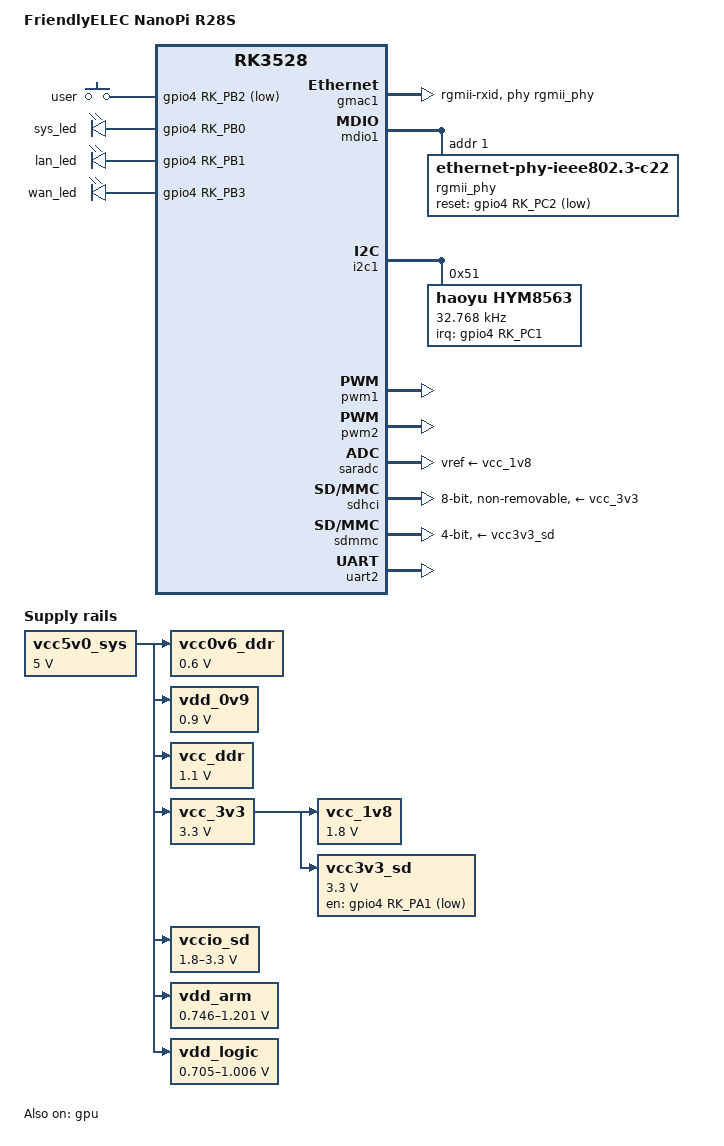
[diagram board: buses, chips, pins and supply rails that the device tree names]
// SPDX-License-Identifier: (GPL-2.0+ OR MIT)
/*
 * Device Tree for FriendlyELEC NanoPi R28S (RK3528A) — mainline U-Boot
 *
 * 模板: 主线 rk3528-nanopi-zero2.dts (同 SoC RK3528A)
 * 硬件定义: friendlyarm/kernel-rockchip nanopi6-v6.1.y / rk3528-nanopi-rev03.dts
 *
 * ★R28S 与 Zero2 在 U-Boot 阶段的关键差异: 调试串口★
 *   Zero2 用 UART0(0xff9f0000, serial0), R28S 用 UART2(0xffa0000, m1 引脚组, serial2).
 *   之前用 Zero2 u-boot 卡 'Starting kernel' 的根因之一就是串口节点对不上.
 *
 * 设计说明 (最小化以降低编译/启动风险):
 *   U-Boot 只需 DDR + UART2 + eMMC(sdhci)/SD(sdmmc) + 电源树正确即可点亮.
 *   网口 gmac1 保留(基本可用), 但 PCIe/RTL8111H、SDIO0 WiFi 等外设不在此配置——
 *   它们由内核 dtb(已验证的 rk3528-nanopi-r28s.dtb)接管, u-boot 阶段无需初始化,
 *   且可避免引用主线下游 pinctrl 中命名未确认的 label(如 eth_pins/pciem1_pins)导致 dtc 报错.
 */

/dts-v1/;

#include <dt-bindings/gpio/gpio.h>
#include <dt-bindings/input/input.h>
#include <dt-bindings/leds/common.h>
#include <dt-bindings/pinctrl/rockchip.h>
#include <dt-bindings/pwm/pwm.h>
#include "rk3528.dtsi"

/ {
	model = "FriendlyELEC NanoPi R28S";
	compatible = "friendlyelec,nanopi-r28s", "rockchip,rk3528";

	aliases {
		ethernet0 = &gmac1;
		mmc0 = &sdhci;
		mmc1 = &sdmmc;
		serial0 = &uart0;
		serial2 = &uart2;
	};

	chosen {
		/* R28S 调试串口为 UART2 (USB-UART), 1500000 8N1 */
		stdout-path = "serial2:1500000n8";
	};

	/* USER(C) 按键: gpio4 RK_PB2 低有效 */
	keys {
		compatible = "gpio-keys";
		pinctrl-names = "default";
		pinctrl-0 = <&key1_pin>;

		button-user {
			label = "user";
			linux,code = <BTN_1>;
			gpios = <&gpio4 RK_PB2 GPIO_ACTIVE_LOW>;
			debounce-interval = <50>;
			wakeup-source;
		};
	};

	/* 板载 3 个 GPIO LED: SYS(gpio4 PB0) / LED1(PB1) / LED2(PB3), 高有效 */
	leds {
		compatible = "gpio-leds";
		pinctrl-names = "default";
		pinctrl-0 = <&led_sys>, <&led1>, <&led2>;

		led-0 {
			gpios = <&gpio4 RK_PB0 GPIO_ACTIVE_HIGH>;
			label = "sys_led";
			linux,default-trigger = "heartbeat";
			default-state = "on";
		};

		led-1 {
			gpios = <&gpio4 RK_PB1 GPIO_ACTIVE_HIGH>;
			label = "lan_led";
		};

		led-2 {
			gpios = <&gpio4 RK_PB3 GPIO_ACTIVE_HIGH>;
			label = "wan_led";
		};
	};

	/* ---- 板级 regulator (与 Zero2 一致, RK3528 nanopi 系列共用电源树) ---- */
	vcc0v6_ddr: regulator-0v6-vcc-ddr {
		compatible = "regulator-fixed";
		regulator-name = "vcc0v6_ddr";
		regulator-always-on;
		regulator-boot-on;
		regulator-min-microvolt = <600000>;
		regulator-max-microvolt = <600000>;
		vin-supply = <&vcc5v0_sys>;
	};

	vdd_0v9: regulator-0v9-vdd {
		compatible = "regulator-fixed";
		regulator-name = "vdd_0v9";
		regulator-always-on;
		regulator-boot-on;
		regulator-min-microvolt = <900000>;
		regulator-max-microvolt = <900000>;
		vin-supply = <&vcc5v0_sys>;
	};

	vcc_ddr: regulator-1v1-vcc-ddr {
		compatible = "regulator-fixed";
		regulator-name = "vcc_ddr";
		regulator-always-on;
		regulator-boot-on;
		regulator-min-microvolt = <1100000>;
		regulator-max-microvolt = <1100000>;
		vin-supply = <&vcc5v0_sys>;
	};

	vcc_1v8: regulator-1v8-vcc {
		compatible = "regulator-fixed";
		regulator-name = "vcc_1v8";
		regulator-always-on;
		regulator-boot-on;
		regulator-min-microvolt = <1800000>;
		regulator-max-microvolt = <1800000>;
		vin-supply = <&vcc_3v3>;
	};

	vcc_3v3: regulator-3v3-vcc {
		compatible = "regulator-fixed";
		regulator-name = "vcc_3v3";
		regulator-always-on;
		regulator-boot-on;
		regulator-min-microvolt = <3300000>;
		regulator-max-microvolt = <3300000>;
		vin-supply = <&vcc5v0_sys>;
	};

	vcc3v3_sd: regulator-3v3-vcc-sd {
		compatible = "regulator-fixed";
		gpios = <&gpio4 RK_PA1 GPIO_ACTIVE_LOW>;
		pinctrl-names = "default";
		pinctrl-0 = <&sdmmc_pwren_l>;
		regulator-name = "vcc3v3_sd";
		regulator-min-microvolt = <3300000>;
		regulator-max-microvolt = <3300000>;
		vin-supply = <&vcc_3v3>;
	};

	vcc5v0_sys: regulator-5v0-vcc-sys {
		compatible = "regulator-fixed";
		regulator-name = "vcc5v0_sys";
		regulator-always-on;
		regulator-boot-on;
		regulator-min-microvolt = <5000000>;
		regulator-max-microvolt = <5000000>;
	};

	vccio_sd: regulator-vccio-sd {
		compatible = "regulator-gpio";
		gpios = <&gpio4 RK_PB6 GPIO_ACTIVE_HIGH>;
		pinctrl-names = "default";
		pinctrl-0 = <&sdmmc_vol_ctrl_h>;
		regulator-name = "vccio_sd";
		regulator-min-microvolt = <1800000>;
		regulator-max-microvolt = <3300000>;
		states = <1800000 0x0>, <3300000 0x1>;
		vin-supply = <&vcc5v0_sys>;
	};

	vdd_arm: regulator-vdd-arm {
		compatible = "pwm-regulator";
		pwms = <&pwm1 0 5000 PWM_POLARITY_INVERTED>;
		pwm-supply = <&vcc5v0_sys>;
		regulator-name = "vdd_arm";
		regulator-always-on;
		regulator-boot-on;
		regulator-min-microvolt = <746000>;
		regulator-max-microvolt = <1201000>;
		regulator-settling-time-up-us = <250>;
	};

	vdd_logic: regulator-vdd-logic {
		compatible = "pwm-regulator";
		pwms = <&pwm2 0 5000 PWM_POLARITY_INVERTED>;
		pwm-supply = <&vcc5v0_sys>;
		regulator-name = "vdd_logic";
		regulator-always-on;
		regulator-boot-on;
		regulator-min-microvolt = <705000>;
		regulator-max-microvolt = <1006000>;
		regulator-settling-time-up-us = <250>;
	};
};

&cpu0 { cpu-supply = <&vdd_arm>; };
&cpu1 { cpu-supply = <&vdd_arm>; };
&cpu2 { cpu-supply = <&vdd_arm>; };
&cpu3 { cpu-supply = <&vdd_arm>; };

/* ---- 网口1: SoC 内置 gmac1, RGMII 接 RTL8211F 千兆 PHY (R28S 时序) ---- */
&gmac1 {
	clock_in_out = "output";
	phy-handle = <&rgmii_phy>;
	phy-mode = "rgmii-rxid";
	tx_delay = <0x30>;
	pinctrl-names = "default";
	pinctrl-0 = <&rgmii_miim>, <&rgmii_tx_bus2>, <&rgmii_rx_bus2>,
		    <&rgmii_rgmii_clk>, <&rgmii_rgmii_bus>;
	status = "okay";
};

&mdio1 {
	rgmii_phy: ethernet-phy@1 {
		compatible = "ethernet-phy-ieee802.3-c22";
		reg = <0x1>;
		realtek,ledsel = <0xae00>;
		pinctrl-names = "default";
		pinctrl-0 = <&gmac1_rstn_l>;
		reset-assert-us = <20000>;
		reset-deassert-us = <100000>;
		reset-gpios = <&gpio4 RK_PC2 GPIO_ACTIVE_LOW>;
	};
};

&gpu {
	mali-supply = <&vdd_logic>;
	status = "okay";
};

/* RTC: HYM8563 @ i2c1 */
&i2c1 {
	pinctrl-names = "default";
	pinctrl-0 = <&i2c1m0_xfer>;
	status = "okay";

	hym8563: rtc@51 {
		compatible = "haoyu,hym8563";
		reg = <0x51>;
		#clock-cells = <0>;
		clock-frequency = <32768>;
		clock-output-names = "hym8563";
		interrupt-parent = <&gpio4>;
		interrupts = <RK_PC1 IRQ_TYPE_LEVEL_LOW>;
		pinctrl-names = "default";
		pinctrl-0 = <&rtc_int_l>;
		wakeup-source;
	};
};

&pinctrl {
	ethernet {
		gmac1_rstn_l: gmac1-rstn-l {
			rockchip,pins = <4 RK_PC2 RK_FUNC_GPIO &pcfg_pull_none>;
		};
	};

	keys {
		key1_pin: key1-pin {
			rockchip,pins = <4 RK_PB2 RK_FUNC_GPIO &pcfg_pull_up>;
		};
	};

	leds {
		led_sys: led-sys {
			rockchip,pins = <4 RK_PB0 RK_FUNC_GPIO &pcfg_pull_none>;
		};

		led1: led1 {
			rockchip,pins = <4 RK_PB1 RK_FUNC_GPIO &pcfg_pull_none>;
		};

		led2: led2 {
			rockchip,pins = <4 RK_PB3 RK_FUNC_GPIO &pcfg_pull_none>;
		};
	};

	rtc {
		rtc_int_l: rtc-int-l {
			rockchip,pins = <4 RK_PC1 RK_FUNC_GPIO &pcfg_pull_up>;
		};
	};

	sdmmc {
		sdmmc_vol_ctrl_h: sdmmc-vol-ctrl-h {
			rockchip,pins = <4 RK_PB6 RK_FUNC_GPIO &pcfg_pull_none>;
		};

		sdmmc_pwren_l: sdmmc-pwren-l {
			rockchip,pins = <4 RK_PA1 RK_FUNC_GPIO &pcfg_pull_none>;
		};
	};
};

&pwm1 {
	pinctrl-names = "default";
	pinctrl-0 = <&pwm1m0_pins>;
	status = "okay";
};

&pwm2 {
	pinctrl-names = "default";
	pinctrl-0 = <&pwm2m0_pins>;
	status = "okay";
};

&saradc {
	vref-supply = <&vcc_1v8>;
	status = "okay";
};

/* eMMC (sdhci, 8bit HS200) */
&sdhci {
	bus-width = <8>;
	cap-mmc-highspeed;
	mmc-hs200-1_8v;
	no-sd;
	no-sdio;
	non-removable;
	vmmc-supply = <&vcc_3v3>;
	vqmmc-supply = <&vcc_1v8>;
	status = "okay";
};

/* microSD (sdmmc) */
&sdmmc {
	bus-width = <4>;
	cap-mmc-highspeed;
	cap-sd-highspeed;
	disable-wp;
	sd-uhs-sdr104;
	vmmc-supply = <&vcc3v3_sd>;
	vqmmc-supply = <&vccio_sd>;
	status = "okay";
};

/* 调试串口: R28S 用 UART2 (m1 引脚组), 1500000 */
&uart2 {
	pinctrl-names = "default";
	pinctrl-0 = <&uart2m1_xfer>, <&uart2m1_ctsn>, <&uart2m1_rtsn>;
	status = "okay";
};

/* 注: USB (usb_host0/usb2phy) 在主线 rk3528.dtsi 中尚无节点定义,
 * 且 u-boot 点亮 R28S 不需要 USB (USB-C 仅供电/刷机, 由内核阶段接管),
 * 故不在此配置, 避免引用主线不存在的 label 导致 dtc 报错. */
